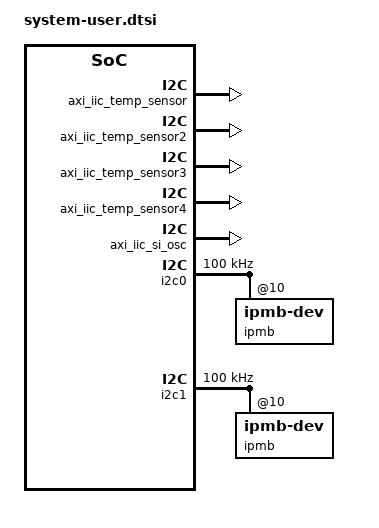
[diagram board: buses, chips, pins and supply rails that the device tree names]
/include/ "system-conf.dtsi"
/ {
};

&{/axi/spi@e000d000/flash@0} {
	compatible = "micron,n25q128a11";
};

&axi_iic_temp_sensor {
	status = "okay";
};

&axi_iic_temp_sensor2 {
	status = "okay";
};

&axi_iic_temp_sensor3 {
	status = "okay";
};

&axi_iic_temp_sensor4 {
	status = "okay";
};

&axi_iic_fan_ctrl {
	status = "okay";
};

&axi_iic_si_osc {
	status = "okay";
};

&i2c0 {
    status = "okay";
    clock-frequency = <100000>;
    ipmb@10 {
        compatible = "ipmb-dev";
        i2c-protocol;
        bmc-addr = <0x20>;  // BMC's own IPMB address
    };
};

&i2c1 {
    status = "okay";
    clock-frequency = <100000>;
    ipmb@10 {  // IPMB-A
        compatible = "ipmb-dev";
        i2c-protocol;
        bmc-addr = <0x20>;  // BMC's own IPMB address
    };
};
